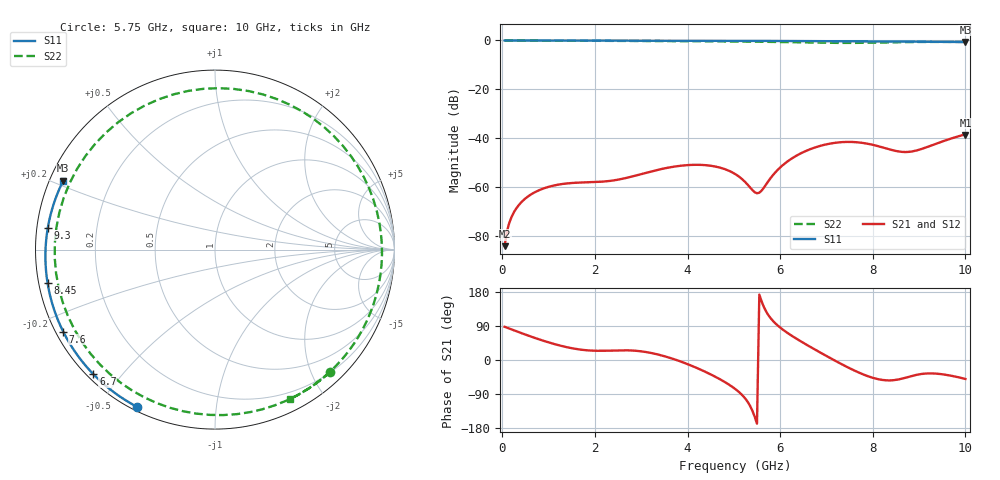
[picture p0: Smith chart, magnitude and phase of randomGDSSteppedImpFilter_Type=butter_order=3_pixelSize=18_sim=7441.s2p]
! freq	dB(S11)	phase(S11)	dB(S12)	phase(S12)
!  dB(S21)	phase(S21)	dB(S22)	phase(S22)
!S-par simulation data
#  GHz  S  DB  R 50
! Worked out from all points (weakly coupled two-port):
!   200 points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, 50 MHz to 10 GHz, reference 50 ohm
!   highest |S21| = -38.68 dB at 10 GHz (marker M1); lowest = -84.3 dB at 50 MHz (marker M2)
!   lowest |S11| = -0.6 dB at 10 GHz (marker M3), VSWR 26.98, Z = 1.94 + j10.8 ohm
!   |S11| at or under -10 dB: nowhere
!   |S22| runs from -1.0 to 0.0 dB; largest |S21 - S12| = 0
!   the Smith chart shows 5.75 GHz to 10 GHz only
!   S11 on the Smith chart (normalised r, x): 5.75 GHz: 0.02, -0.62; 6.7 GHz: 0.02, -0.42; 7.6 GHz: 0.02, -0.25; 8.45 GHz: 0.03, -0.10; 9.3 GHz: 0.03, +0.07; 10 GHz: 0.04, +0.22
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0.05  -0.00 -1.1  -84.28 87.7  -84.28 87.7  -0.00 -3.6
0.3  -0.01 -6.5  -68.88 76.0  -68.88 76.0  -0.03 -21.6
0.6  -0.02 -13.0  -63.33 62.6  -63.33 62.6  -0.06 -42.9
1.15  -0.03 -24.9  -59.28 41.2  -59.28 41.2  -0.10 -80.7
1.75  -0.05 -37.6  -58.17 26.5  -58.17 26.5  -0.14 -119.8
2.6  -0.07 -55.2  -56.65 25.6  -56.65 25.6  -0.19 -173.1
3.4  -0.09 -71.3  -52.83 13.3  -52.83 13.3  -0.24 135.5
3.85  -0.11 -80.2  -51.34 -3.9  -51.34 -3.9  -0.28 104.6
4.25  -0.12 -87.9  -50.95 -23.7  -50.95 -23.7  -0.32 75.4
5.05  -0.16 -103.2  -54.98 -78.4  -54.98 -78.4  -0.43 12.3
5.5  -0.18 -111.7  -62.61 -168.0  -62.61 -168.0  -0.51 -25.4
5.75  -0.20 -116.4  -57.52 117.6  -57.52 117.6  -0.57 -46.9
6.25  -0.23 -125.8  -48.37 64.0  -48.37 64.0  -0.71 -91.8
6.7  -0.26 -134.3  -44.19 31.1  -44.19 31.1  -0.86 -135.1
7.15  -0.30 -142.9  -42.03 0.6  -42.03 0.6  -0.98 177.6
7.6  -0.34 -151.6  -41.63 -27.6  -41.63 -27.6  -1.00 127.3
7.95  -0.38 -158.6  -42.55 -45.1  -42.55 -45.1  -0.92 88.6
8.35  -0.42 -166.8  -44.57 -53.9  -44.57 -53.9  -0.78 48.1
8.45  -0.44 -168.9  -45.06 -53.3  -45.06 -53.3  -0.75 38.9
8.85  -0.48 -177.4  -45.47 -41.9  -45.47 -41.9  -0.64 5.7
9.3  -0.54 172.5  -42.79 -35.5  -42.79 -35.5  -0.59 -25.1
10  -0.64 155.6  -38.68 -50.0  -38.68 -50.0  -0.62 -63.3
